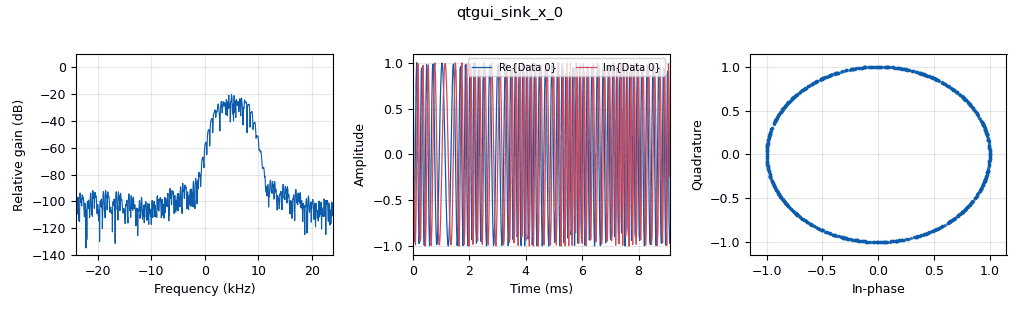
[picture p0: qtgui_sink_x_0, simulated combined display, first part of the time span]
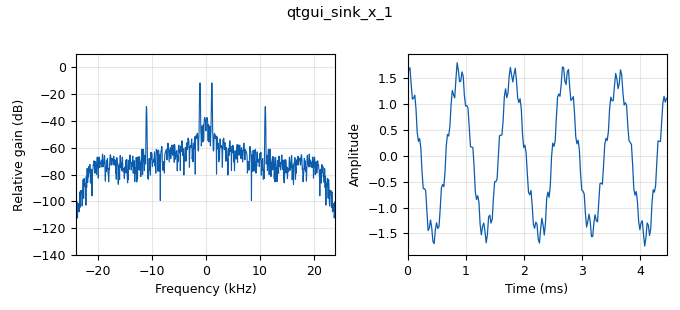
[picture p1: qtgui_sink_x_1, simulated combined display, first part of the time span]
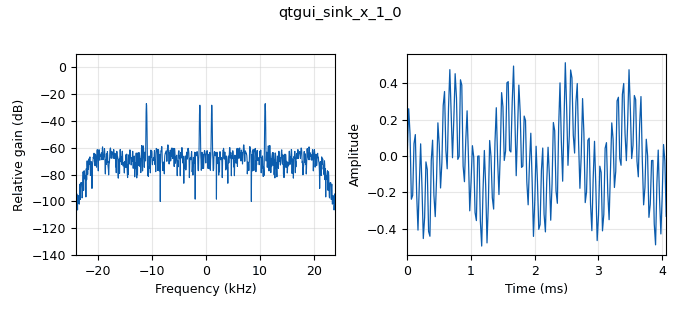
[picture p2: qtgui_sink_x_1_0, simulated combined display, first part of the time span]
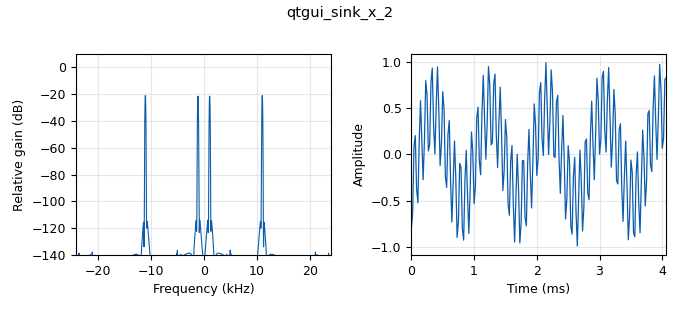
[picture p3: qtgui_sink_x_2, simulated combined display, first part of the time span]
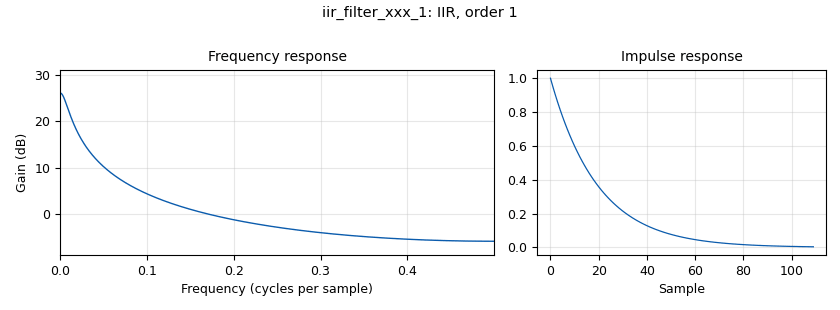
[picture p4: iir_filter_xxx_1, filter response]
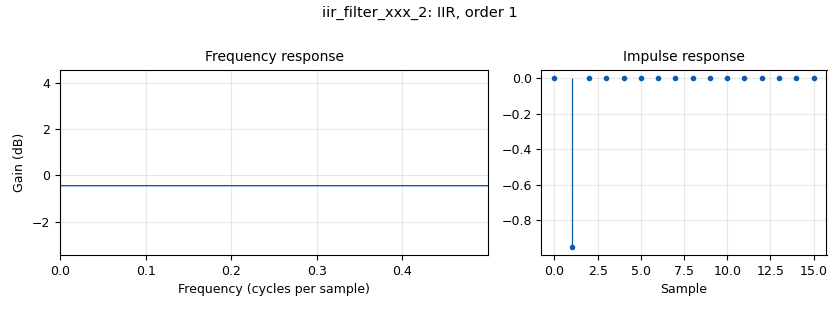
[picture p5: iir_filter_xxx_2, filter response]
options:
  parameters:
    generate_options: qt_gui
    id: FM_Mod
    output_language: python
    title: Not titled yet
  states: {}

blocks:
- name: samp_rate
  id: variable
  parameters:
    value: '48000'
  states: {}
- name: analog_noise_source_x_0
  id: analog_noise_source_x
  parameters:
    amp: '0.2'
    noise_type: analog.GR_GAUSSIAN
    seed: '0'
    type: complex
  states: {}
- name: analog_phase_modulator_fc_0
  id: analog_phase_modulator_fc
  parameters:
    sensitivity: 6.283*75000
  states: {}
- name: analog_sig_source_x_0
  id: analog_sig_source_x
  parameters:
    amp: '0.5'
    freq: '1100'
    offset: '0'
    phase: '0'
    samp_rate: samp_rate
    type: float
    waveform: analog.GR_SIN_WAVE
  states: {}
- name: analog_sig_source_x_1
  id: analog_sig_source_x
  parameters:
    amp: '0.5'
    freq: '11000'
    offset: '0'
    phase: '0'
    samp_rate: samp_rate
    type: float
    waveform: analog.GR_SIN_WAVE
  states: {}
- name: analog_sig_source_x_1_0
  id: analog_sig_source_x
  parameters:
    amp: '1'
    freq: '100000'
    offset: '0'
    phase: '0'
    samp_rate: '960000'
    type: complex
    waveform: analog.GR_SIN_WAVE
  states: {}
- name: blocks_add_xx_0
  id: blocks_add_xx
  parameters:
    type: float
  states: {}
- name: blocks_add_xx_1
  id: blocks_add_xx
  parameters:
    type: complex
  states: {}
- name: blocks_complex_to_arg_0
  id: blocks_complex_to_arg
  parameters: {}
  states: {}
- name: blocks_conjugate_cc_0
  id: blocks_conjugate_cc
  parameters: {}
  states: {}
- name: blocks_delay_0
  id: blocks_delay
  parameters:
    delay: '1'
    type: complex
  states: {}
- name: blocks_multiply_xx_0
  id: blocks_multiply_xx
  parameters:
    type: complex
  states: {}
- name: blocks_multiply_xx_1
  id: blocks_multiply_xx
  parameters:
    type: complex
  states: {}
- name: dc_blocker_xx_0
  id: dc_blocker_xx
  parameters:
    length: '6400'
    long_form: 'True'
    type: ff
  states: {}
- name: iir_filter_xxx_0
  id: iir_filter_xxx
  parameters:
    fbtaps: '[1,1]'
    fftaps: 1/48000
    type: ffd
  states: {}
- name: iir_filter_xxx_1
  id: iir_filter_xxx
  parameters:
    fbtaps: '[1, 0.95]'
    fftaps: '1'
    type: ffd
  states: {}
- name: iir_filter_xxx_2
  id: iir_filter_xxx
  parameters:
    fbtaps: '1'
    fftaps: '[0,-0.95]'
    type: ffd
  states: {}
- name: qtgui_sink_x_0
  id: qtgui_sink_x
  parameters:
    bw: samp_rate
    fc: '0'
    fftsize: '1024'
    gui_hint: tab@1
    type: complex
  states: {}
- name: qtgui_sink_x_1
  id: qtgui_sink_x
  parameters:
    bw: samp_rate
    fc: '0'
    fftsize: '1024'
    gui_hint: tab@3
    type: float
  states: {}
- name: qtgui_sink_x_1_0
  id: qtgui_sink_x
  parameters:
    bw: samp_rate
    fc: '0'
    fftsize: '1024'
    gui_hint: tab@2
    type: float
  states: {}
- name: qtgui_sink_x_2
  id: qtgui_sink_x
  parameters:
    bw: samp_rate
    fc: '0'
    fftsize: '1024'
    gui_hint: tab@0
    type: float
  states: {}
- name: rational_resampler_xxx_0
  id: rational_resampler_xxx
  parameters:
    decim: '48000'
    interp: '960000'
    type: fff
  states: {}
- name: rational_resampler_xxx_1
  id: rational_resampler_xxx
  parameters:
    decim: '960000'
    interp: '48000'
    type: fff
  states: {}
- name: tab
  id: qtgui_tab_widget
  parameters:
    label0: Message
    label1: Modulated
    label2: de Modulated
    label3: Pre emphasis
    label4: De emphasis
    num_tabs: '5'
  states: {}

connections:
- [analog_noise_source_x_0, '0', blocks_add_xx_1, '1']
- [analog_phase_modulator_fc_0, '0', blocks_multiply_xx_0, '0']
- [analog_sig_source_x_0, '0', blocks_add_xx_0, '0']
- [analog_sig_source_x_1, '0', blocks_add_xx_0, '1']
- [analog_sig_source_x_1_0, '0', blocks_multiply_xx_0, '1']
- [blocks_add_xx_0, '0', iir_filter_xxx_0, '0']
- [blocks_add_xx_0, '0', qtgui_sink_x_2, '0']
- [blocks_add_xx_1, '0', blocks_multiply_xx_1, '0']
- [blocks_complex_to_arg_0, '0', dc_blocker_xx_0, '0']
- [blocks_conjugate_cc_0, '0', blocks_multiply_xx_1, '1']
- [blocks_delay_0, '0', blocks_conjugate_cc_0, '0']
- [blocks_multiply_xx_0, '0', blocks_add_xx_1, '0']
- [blocks_multiply_xx_0, '0', blocks_delay_0, '0']
- [blocks_multiply_xx_0, '0', qtgui_sink_x_0, '0']
- [blocks_multiply_xx_1, '0', blocks_complex_to_arg_0, '0']
- [dc_blocker_xx_0, '0', rational_resampler_xxx_1, '0']
- [iir_filter_xxx_0, '0', rational_resampler_xxx_0, '0']
- [iir_filter_xxx_1, '0', qtgui_sink_x_1, '0']
- [iir_filter_xxx_2, '0', analog_phase_modulator_fc_0, '0']
- [rational_resampler_xxx_0, '0', iir_filter_xxx_2, '0']
- [rational_resampler_xxx_1, '0', iir_filter_xxx_1, '0']
- [rational_resampler_xxx_1, '0', qtgui_sink_x_1_0, '0']

metadata:
  file_format: 1
  grc_version: 3.10.7.0
